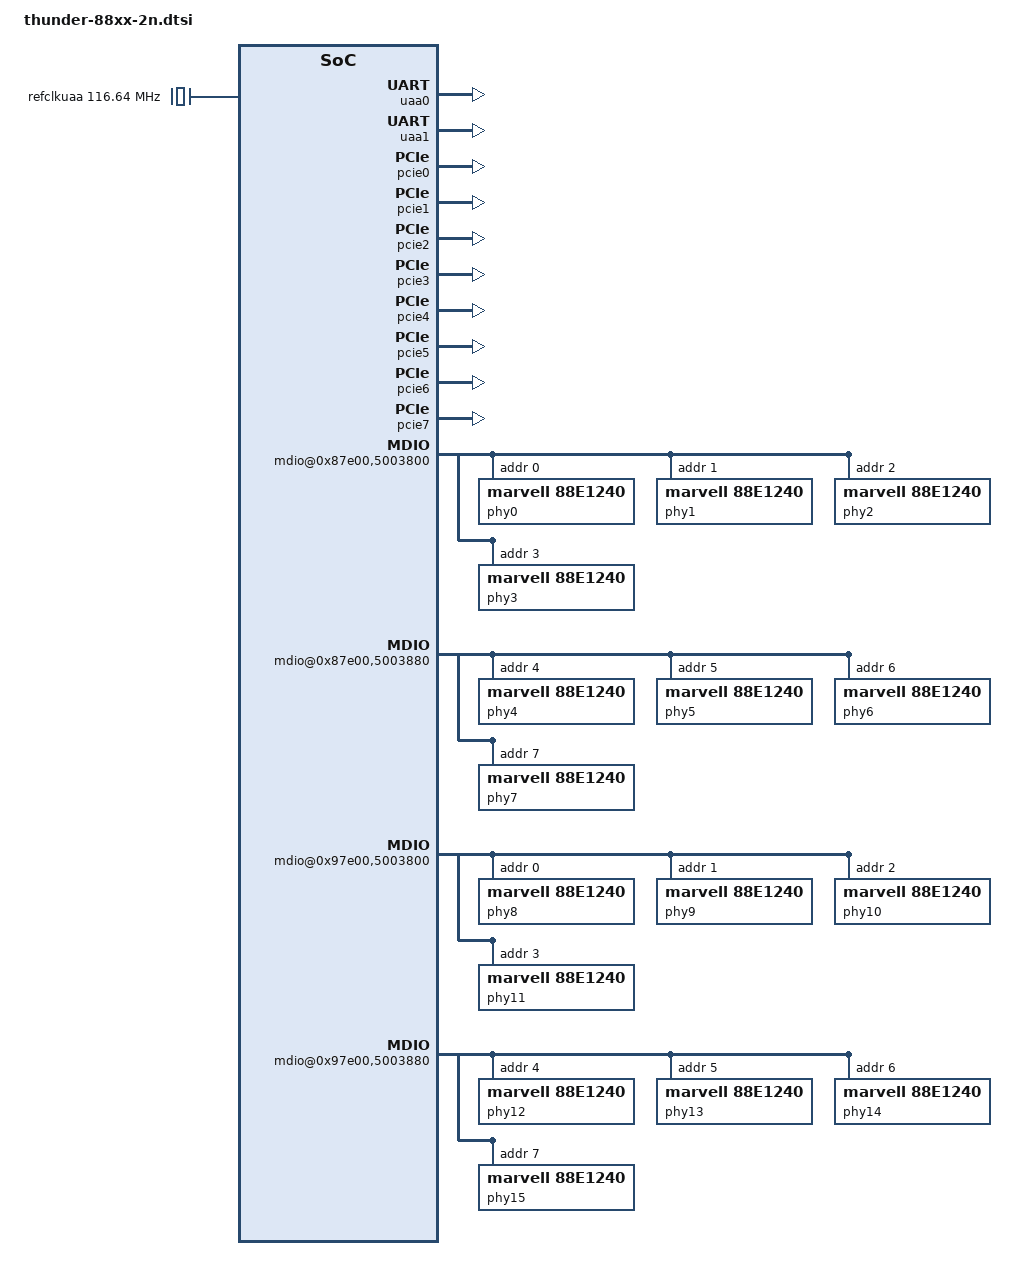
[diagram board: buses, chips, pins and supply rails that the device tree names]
/*
 * Cavium Thunder DTS file - Thunder SoC description
 *
 * Copyright (C) 2014, Cavium Inc.
 *
 * This file is dual-licensed: you can use it either under the terms
 * of the GPL or the X11 license, at your option. Note that this dual
 * licensing only applies to this file, and not this project as a
 * whole.
 *
 *  a) This library is free software; you can redistribute it and/or
 *     modify it under the terms of the GNU General Public License as
 *     published by the Free Software Foundation; either version 2 of the
 *     License, or (at your option) any later version.
 *
 *     This library is distributed in the hope that it will be useful,
 *     but WITHOUT ANY WARRANTY; without even the implied warranty of
 *     MERCHANTABILITY or FITNESS FOR A PARTICULAR PURPOSE.  See the
 *     GNU General Public License for more details.
 *
 *     You should have received a copy of the GNU General Public
 *     License along with this library; if not, write to the Free
 *     Software Foundation, Inc., 51 Franklin St, Fifth Floor, Boston,
 *     MA 02110-1301 USA
 *
 * Or, alternatively,
 *
 *  b) Permission is hereby granted, free of charge, to any person
 *     obtaining a copy of this software and associated documentation
 *     files (the "Software"), to deal in the Software without
 *     restriction, including without limitation the rights to use,
 *     copy, modify, merge, publish, distribute, sublicense, and/or
 *     sell copies of the Software, and to permit persons to whom the
 *     Software is furnished to do so, subject to the following
 *     conditions:
 *
 *     The above copyright notice and this permission notice shall be
 *     included in all copies or substantial portions of the Software.
 *
 *     THE SOFTWARE IS PROVIDED "AS IS", WITHOUT WARRANTY OF ANY KIND,
 *     EXPRESS OR IMPLIED, INCLUDING BUT NOT LIMITED TO THE WARRANTIES
 *     OF MERCHANTABILITY, FITNESS FOR A PARTICULAR PURPOSE AND
 *     NONINFRINGEMENT. IN NO EVENT SHALL THE AUTHORS OR COPYRIGHT
 *     HOLDERS BE LIABLE FOR ANY CLAIM, DAMAGES OR OTHER LIABILITY,
 *     WHETHER IN AN ACTION OF CONTRACT, TORT OR OTHERWISE, ARISING
 *     FROM, OUT OF OR IN CONNECTION WITH THE SOFTWARE OR THE USE OR
 *     OTHER DEALINGS IN THE SOFTWARE.
 */

/ {
	compatible = "cavium,thunder-88xx";
	interrupt-parent = <&gic0>;
	#address-cells = <2>;
	#size-cells = <2>;

	psci {
		compatible = "arm,psci-0.2";
		method = "smc";
	};

	cpus {
		#address-cells = <2>;
		#size-cells = <0>;

		cpu@000 {
			device_type = "cpu";
			compatible = "cavium,thunder", "arm,armv8";
			reg = <0x0 0x000>;
			enable-method = "psci";
			/* socket 0, cluster 0, core 0*/
			arm,associativity = <0 0 0>;
		};
		cpu@001 {
			device_type = "cpu";
			compatible = "cavium,thunder", "arm,armv8";
			reg = <0x0 0x001>;
			enable-method = "psci";
			arm,associativity = <0 0 1>;
		};
		cpu@002 {
			device_type = "cpu";
			compatible = "cavium,thunder", "arm,armv8";
			reg = <0x0 0x002>;
			enable-method = "psci";
			arm,associativity = <0 0 2>;
		};
		cpu@003 {
			device_type = "cpu";
			compatible = "cavium,thunder", "arm,armv8";
			reg = <0x0 0x003>;
			enable-method = "psci";
			arm,associativity = <0 0 3>;
		};
		cpu@004 {
			device_type = "cpu";
			compatible = "cavium,thunder", "arm,armv8";
			reg = <0x0 0x004>;
			enable-method = "psci";
			arm,associativity = <0 0 4>;
		};
		cpu@005 {
			device_type = "cpu";
			compatible = "cavium,thunder", "arm,armv8";
			reg = <0x0 0x005>;
			enable-method = "psci";
			arm,associativity = <0 0 5>;
		};
		cpu@006 {
			device_type = "cpu";
			compatible = "cavium,thunder", "arm,armv8";
			reg = <0x0 0x006>;
			enable-method = "psci";
			arm,associativity = <0 0 6>;
		};
		cpu@007 {
			device_type = "cpu";
			compatible = "cavium,thunder", "arm,armv8";
			reg = <0x0 0x007>;
			enable-method = "psci";
			arm,associativity = <0 0 7>;
		};
		cpu@008 {
			device_type = "cpu";
			compatible = "cavium,thunder", "arm,armv8";
			reg = <0x0 0x008>;
			enable-method = "psci";
			arm,associativity = <0 0 8>;
		};
		cpu@009 {
			device_type = "cpu";
			compatible = "cavium,thunder", "arm,armv8";
			reg = <0x0 0x009>;
			enable-method = "psci";
			arm,associativity = <0 0 9>;
		};
		cpu@00a {
			device_type = "cpu";
			compatible = "cavium,thunder", "arm,armv8";
			reg = <0x0 0x00a>;
			enable-method = "psci";
			arm,associativity = <0 0 10>;
		};
		cpu@00b {
			device_type = "cpu";
			compatible = "cavium,thunder", "arm,armv8";
			reg = <0x0 0x00b>;
			enable-method = "psci";
			arm,associativity = <0 0 11>;
		};
		cpu@00c {
			device_type = "cpu";
			compatible = "cavium,thunder", "arm,armv8";
			reg = <0x0 0x00c>;
			enable-method = "psci";
			arm,associativity = <0 0 12>;
		};
		cpu@00d {
			device_type = "cpu";
			compatible = "cavium,thunder", "arm,armv8";
			reg = <0x0 0x00d>;
			enable-method = "psci";
			arm,associativity = <0 0 13>;
		};
		cpu@00e {
			device_type = "cpu";
			compatible = "cavium,thunder", "arm,armv8";
			reg = <0x0 0x00e>;
			enable-method = "psci";
			arm,associativity = <0 0 14>;
		};
		cpu@00f {
			device_type = "cpu";
			compatible = "cavium,thunder", "arm,armv8";
			reg = <0x0 0x00f>;
			enable-method = "psci";
			arm,associativity = <0 0 15>;
		};
		cpu@100 {
			device_type = "cpu";
			compatible = "cavium,thunder", "arm,armv8";
			reg = <0x0 0x100>;
			enable-method = "psci";
			arm,associativity = <0 1 0>;
		};
		cpu@101 {
			device_type = "cpu";
			compatible = "cavium,thunder", "arm,armv8";
			reg = <0x0 0x101>;
			enable-method = "psci";
			arm,associativity = <0 1 1>;
		};
		cpu@102 {
			device_type = "cpu";
			compatible = "cavium,thunder", "arm,armv8";
			reg = <0x0 0x102>;
			enable-method = "psci";
			arm,associativity = <0 1 2>;
		};
		cpu@103 {
			device_type = "cpu";
			compatible = "cavium,thunder", "arm,armv8";
			reg = <0x0 0x103>;
			enable-method = "psci";
			arm,associativity = <0 1 3>;
		};
		cpu@104 {
			device_type = "cpu";
			compatible = "cavium,thunder", "arm,armv8";
			reg = <0x0 0x104>;
			enable-method = "psci";
			arm,associativity = <0 1 4>;
		};
		cpu@105 {
			device_type = "cpu";
			compatible = "cavium,thunder", "arm,armv8";
			reg = <0x0 0x105>;
			enable-method = "psci";
			arm,associativity = <0 1 5>;
		};
		cpu@106 {
			device_type = "cpu";
			compatible = "cavium,thunder", "arm,armv8";
			reg = <0x0 0x106>;
			enable-method = "psci";
			arm,associativity = <0 1 6>;
		};
		cpu@107 {
			device_type = "cpu";
			compatible = "cavium,thunder", "arm,armv8";
			reg = <0x0 0x107>;
			enable-method = "psci";
			arm,associativity = <0 1 7>;
		};
		cpu@108 {
			device_type = "cpu";
			compatible = "cavium,thunder", "arm,armv8";
			reg = <0x0 0x108>;
			enable-method = "psci";
			arm,associativity = <0 1 8>;
		};
		cpu@109 {
			device_type = "cpu";
			compatible = "cavium,thunder", "arm,armv8";
			reg = <0x0 0x109>;
			enable-method = "psci";
			arm,associativity = <0 1 9>;
		};
		cpu@10a {
			device_type = "cpu";
			compatible = "cavium,thunder", "arm,armv8";
			reg = <0x0 0x10a>;
			enable-method = "psci";
			arm,associativity = <0 1 10>;
		};
		cpu@10b {
			device_type = "cpu";
			compatible = "cavium,thunder", "arm,armv8";
			reg = <0x0 0x10b>;
			enable-method = "psci";
			arm,associativity = <0 1 11>;
		};
		cpu@10c {
			device_type = "cpu";
			compatible = "cavium,thunder", "arm,armv8";
			reg = <0x0 0x10c>;
			enable-method = "psci";
			arm,associativity = <0 1 12>;
		};
		cpu@10d {
			device_type = "cpu";
			compatible = "cavium,thunder", "arm,armv8";
			reg = <0x0 0x10d>;
			enable-method = "psci";
			arm,associativity = <0 1 13>;
		};
		cpu@10e {
			device_type = "cpu";
			compatible = "cavium,thunder", "arm,armv8";
			reg = <0x0 0x10e>;
			enable-method = "psci";
			arm,associativity = <0 1 14>;
		};
		cpu@10f {
			device_type = "cpu";
			compatible = "cavium,thunder", "arm,armv8";
			reg = <0x0 0x10f>;
			enable-method = "psci";
			arm,associativity = <0 1 15>;
		};
		cpu@200 {
			device_type = "cpu";
			compatible = "cavium,thunder", "arm,armv8";
			reg = <0x0 0x200>;
			enable-method = "psci";
			arm,associativity = <0 2 0>;
		};
		cpu@201 {
			device_type = "cpu";
			compatible = "cavium,thunder", "arm,armv8";
			reg = <0x0 0x201>;
			enable-method = "psci";
			arm,associativity = <0 2 1>;
		};
		cpu@202 {
			device_type = "cpu";
			compatible = "cavium,thunder", "arm,armv8";
			reg = <0x0 0x202>;
			enable-method = "psci";
			arm,associativity = <0 2 2>;
		};
		cpu@203 {
			device_type = "cpu";
			compatible = "cavium,thunder", "arm,armv8";
			reg = <0x0 0x203>;
			enable-method = "psci";
			arm,associativity = <0 2 3>;
		};
		cpu@204 {
			device_type = "cpu";
			compatible = "cavium,thunder", "arm,armv8";
			reg = <0x0 0x204>;
			enable-method = "psci";
			arm,associativity = <0 2 4>;
		};
		cpu@205 {
			device_type = "cpu";
			compatible = "cavium,thunder", "arm,armv8";
			reg = <0x0 0x205>;
			enable-method = "psci";
			arm,associativity = <0 2 5>;
		};
		cpu@206 {
			device_type = "cpu";
			compatible = "cavium,thunder", "arm,armv8";
			reg = <0x0 0x206>;
			enable-method = "psci";
			arm,associativity = <0 2 6>;
		};
		cpu@207 {
			device_type = "cpu";
			compatible = "cavium,thunder", "arm,armv8";
			reg = <0x0 0x207>;
			enable-method = "psci";
			arm,associativity = <0 2 7>;
		};
		cpu@208 {
			device_type = "cpu";
			compatible = "cavium,thunder", "arm,armv8";
			reg = <0x0 0x208>;
			enable-method = "psci";
			arm,associativity = <0 2 8>;
		};
		cpu@209 {
			device_type = "cpu";
			compatible = "cavium,thunder", "arm,armv8";
			reg = <0x0 0x209>;
			enable-method = "psci";
			arm,associativity = <0 2 9>;
		};
		cpu@20a {
			device_type = "cpu";
			compatible = "cavium,thunder", "arm,armv8";
			reg = <0x0 0x20a>;
			enable-method = "psci";
			arm,associativity = <0 2 10>;
		};
		cpu@20b {
			device_type = "cpu";
			compatible = "cavium,thunder", "arm,armv8";
			reg = <0x0 0x20b>;
			enable-method = "psci";
			arm,associativity = <0 2 11>;
		};
		cpu@20c {
			device_type = "cpu";
			compatible = "cavium,thunder", "arm,armv8";
			reg = <0x0 0x20c>;
			enable-method = "psci";
			arm,associativity = <0 2 12>;
		};
		cpu@20d {
			device_type = "cpu";
			compatible = "cavium,thunder", "arm,armv8";
			reg = <0x0 0x20d>;
			enable-method = "psci";
			arm,associativity = <0 2 13>;
		};
		cpu@20e {
			device_type = "cpu";
			compatible = "cavium,thunder", "arm,armv8";
			reg = <0x0 0x20e>;
			enable-method = "psci";
			arm,associativity = <0 2 14>;
		};
		cpu@20f {
			device_type = "cpu";
			compatible = "cavium,thunder", "arm,armv8";
			reg = <0x0 0x20f>;
			enable-method = "psci";
			arm,associativity = <0 2 15>;
		};
		cpu@10000 {
			device_type = "cpu";
			compatible = "cavium,thunder", "arm,armv8";
			reg = <0x0 0x10000>;
			enable-method = "psci";
			arm,associativity = <1 0 0>;
		};
		cpu@10001 {
			device_type = "cpu";
			compatible = "cavium,thunder", "arm,armv8";
			reg = <0x0 0x10001>;
			enable-method = "psci";
			arm,associativity = <1 0 1>;
		};
		cpu@10002 {
			device_type = "cpu";
			compatible = "cavium,thunder", "arm,armv8";
			reg = <0x0 0x10002>;
			enable-method = "psci";
			arm,associativity = <1 0 2>;
		};
		cpu@10003 {
			device_type = "cpu";
			compatible = "cavium,thunder", "arm,armv8";
			reg = <0x0 0x10003>;
			enable-method = "psci";
			arm,associativity = <1 0 3>;
		};
		cpu@10004 {
			device_type = "cpu";
			compatible = "cavium,thunder", "arm,armv8";
			reg = <0x0 0x10004>;
			enable-method = "psci";
			arm,associativity = <1 0 4>;
		};
		cpu@10005 {
			device_type = "cpu";
			compatible = "cavium,thunder", "arm,armv8";
			reg = <0x0 0x10005>;
			enable-method = "psci";
			arm,associativity = <1 0 5>;
		};
		cpu@10006 {
			device_type = "cpu";
			compatible = "cavium,thunder", "arm,armv8";
			reg = <0x0 0x10006>;
			enable-method = "psci";
			arm,associativity = <1 0 6>;
		};
		cpu@10007 {
			device_type = "cpu";
			compatible = "cavium,thunder", "arm,armv8";
			reg = <0x0 0x10007>;
			enable-method = "psci";
			arm,associativity = <1 0 7>;
		};
		cpu@10008 {
			device_type = "cpu";
			compatible = "cavium,thunder", "arm,armv8";
			reg = <0x0 0x10008>;
			enable-method = "psci";
			arm,associativity = <1 0 8>;
		};
		cpu@10009 {
			device_type = "cpu";
			compatible = "cavium,thunder", "arm,armv8";
			reg = <0x0 0x10009>;
			enable-method = "psci";
			arm,associativity = <1 0 9>;
		};
		cpu@1000a {
			device_type = "cpu";
			compatible = "cavium,thunder", "arm,armv8";
			reg = <0x0 0x1000a>;
			enable-method = "psci";
			arm,associativity = <1 0 10>;
		};
		cpu@1000b {
			device_type = "cpu";
			compatible = "cavium,thunder", "arm,armv8";
			reg = <0x0 0x1000b>;
			enable-method = "psci";
			arm,associativity = <1 0 11>;
		};
		cpu@1000c {
			device_type = "cpu";
			compatible = "cavium,thunder", "arm,armv8";
			reg = <0x0 0x1000c>;
			enable-method = "psci";
			arm,associativity = <1 0 12>;
		};
		cpu@1000d {
			device_type = "cpu";
			compatible = "cavium,thunder", "arm,armv8";
			reg = <0x0 0x1000d>;
			enable-method = "psci";
			arm,associativity = <1 0 13>;
		};
		cpu@1000e {
			device_type = "cpu";
			compatible = "cavium,thunder", "arm,armv8";
			reg = <0x0 0x1000e>;
			enable-method = "psci";
			arm,associativity = <1 0 14>;
		};
		cpu@1000f {
			device_type = "cpu";
			compatible = "cavium,thunder", "arm,armv8";
			reg = <0x0 0x1000f>;
			enable-method = "psci";
			arm,associativity = <1 0 15>;
		};
		cpu@10100 {
			device_type = "cpu";
			compatible = "cavium,thunder", "arm,armv8";
			reg = <0x0 0x10100>;
			enable-method = "psci";
			arm,associativity = <1 1 0>;
		};
		cpu@10101 {
			device_type = "cpu";
			compatible = "cavium,thunder", "arm,armv8";
			reg = <0x0 0x10101>;
			enable-method = "psci";
			arm,associativity = <1 1 1>;
		};
		cpu@10102 {
			device_type = "cpu";
			compatible = "cavium,thunder", "arm,armv8";
			reg = <0x0 0x10102>;
			enable-method = "psci";
			arm,associativity = <1 1 2>;
		};
		cpu@10103 {
			device_type = "cpu";
			compatible = "cavium,thunder", "arm,armv8";
			reg = <0x0 0x10103>;
			enable-method = "psci";
			arm,associativity = <1 1 3>;
		};
		cpu@10104 {
			device_type = "cpu";
			compatible = "cavium,thunder", "arm,armv8";
			reg = <0x0 0x10104>;
			enable-method = "psci";
			arm,associativity = <1 1 4>;
		};
		cpu@10105 {
			device_type = "cpu";
			compatible = "cavium,thunder", "arm,armv8";
			reg = <0x0 0x10105>;
			enable-method = "psci";
			arm,associativity = <1 1 5>;
		};
		cpu@10106 {
			device_type = "cpu";
			compatible = "cavium,thunder", "arm,armv8";
			reg = <0x0 0x10106>;
			enable-method = "psci";
			arm,associativity = <1 1 6>;
		};
		cpu@10107 {
			device_type = "cpu";
			compatible = "cavium,thunder", "arm,armv8";
			reg = <0x0 0x10107>;
			enable-method = "psci";
			arm,associativity = <1 1 7>;
		};
		cpu@10108 {
			device_type = "cpu";
			compatible = "cavium,thunder", "arm,armv8";
			reg = <0x0 0x10108>;
			enable-method = "psci";
			arm,associativity = <1 1 8>;
		};
		cpu@10109 {
			device_type = "cpu";
			compatible = "cavium,thunder", "arm,armv8";
			reg = <0x0 0x10109>;
			enable-method = "psci";
			arm,associativity = <1 1 9>;
		};
		cpu@1010a {
			device_type = "cpu";
			compatible = "cavium,thunder", "arm,armv8";
			reg = <0x0 0x1010a>;
			enable-method = "psci";
			arm,associativity = <1 1 10>;
		};
		cpu@1010b {
			device_type = "cpu";
			compatible = "cavium,thunder", "arm,armv8";
			reg = <0x0 0x1010b>;
			enable-method = "psci";
			arm,associativity = <1 1 11>;
		};
		cpu@1010c {
			device_type = "cpu";
			compatible = "cavium,thunder", "arm,armv8";
			reg = <0x0 0x1010c>;
			enable-method = "psci";
			arm,associativity = <1 1 12>;
		};
		cpu@1010d {
			device_type = "cpu";
			compatible = "cavium,thunder", "arm,armv8";
			reg = <0x0 0x1010d>;
			enable-method = "psci";
			arm,associativity = <1 1 13>;
		};
		cpu@1010e {
			device_type = "cpu";
			compatible = "cavium,thunder", "arm,armv8";
			reg = <0x0 0x1010e>;
			enable-method = "psci";
			arm,associativity = <1 1 14>;
		};
		cpu@1010f {
			device_type = "cpu";
			compatible = "cavium,thunder", "arm,armv8";
			reg = <0x0 0x1010f>;
			enable-method = "psci";
			arm,associativity = <1 1 15>;
		};
		cpu@10200 {
			device_type = "cpu";
			compatible = "cavium,thunder", "arm,armv8";
			reg = <0x0 0x10200>;
			enable-method = "psci";
			arm,associativity = <1 2 0>;
		};
		cpu@10201 {
			device_type = "cpu";
			compatible = "cavium,thunder", "arm,armv8";
			reg = <0x0 0x10201>;
			enable-method = "psci";
			arm,associativity = <1 2 1>;
		};
		cpu@10202 {
			device_type = "cpu";
			compatible = "cavium,thunder", "arm,armv8";
			reg = <0x0 0x10202>;
			enable-method = "psci";
			arm,associativity = <1 2 2>;
		};
		cpu@10203 {
			device_type = "cpu";
			compatible = "cavium,thunder", "arm,armv8";
			reg = <0x0 0x10203>;
			enable-method = "psci";
			arm,associativity = <1 2 3>;
		};
		cpu@10204 {
			device_type = "cpu";
			compatible = "cavium,thunder", "arm,armv8";
			reg = <0x0 0x10204>;
			enable-method = "psci";
			arm,associativity = <1 2 4>;
		};
		cpu@10205 {
			device_type = "cpu";
			compatible = "cavium,thunder", "arm,armv8";
			reg = <0x0 0x10205>;
			enable-method = "psci";
			arm,associativity = <1 2 5>;
		};
		cpu@10206 {
			device_type = "cpu";
			compatible = "cavium,thunder", "arm,armv8";
			reg = <0x0 0x10206>;
			enable-method = "psci";
			arm,associativity = <1 2 6>;
		};
		cpu@10207 {
			device_type = "cpu";
			compatible = "cavium,thunder", "arm,armv8";
			reg = <0x0 0x10207>;
			enable-method = "psci";
			arm,associativity = <1 2 7>;
		};
		cpu@10208 {
			device_type = "cpu";
			compatible = "cavium,thunder", "arm,armv8";
			reg = <0x0 0x10208>;
			enable-method = "psci";
			arm,associativity = <1 2 8>;
		};
		cpu@10209 {
			device_type = "cpu";
			compatible = "cavium,thunder", "arm,armv8";
			reg = <0x0 0x10209>;
			enable-method = "psci";
			arm,associativity = <1 2 9>;
		};
		cpu@1020a {
			device_type = "cpu";
			compatible = "cavium,thunder", "arm,armv8";
			reg = <0x0 0x1020a>;
			enable-method = "psci";
			arm,associativity = <1 2 10>;
		};
		cpu@1020b {
			device_type = "cpu";
			compatible = "cavium,thunder", "arm,armv8";
			reg = <0x0 0x1020b>;
			enable-method = "psci";
			arm,associativity = <1 2 11>;
		};
		cpu@1020c {
			device_type = "cpu";
			compatible = "cavium,thunder", "arm,armv8";
			reg = <0x0 0x1020c>;
			enable-method = "psci";
			arm,associativity = <1 2 12>;
		};
		cpu@1020d {
			device_type = "cpu";
			compatible = "cavium,thunder", "arm,armv8";
			reg = <0x0 0x1020d>;
			enable-method = "psci";
			arm,associativity = <1 2 13>;
		};
		cpu@1020e {
			device_type = "cpu";
			compatible = "cavium,thunder", "arm,armv8";
			reg = <0x0 0x1020e>;
			enable-method = "psci";
			arm,associativity = <1 2 14>;
		};
		cpu@1020f {
			device_type = "cpu";
			compatible = "cavium,thunder", "arm,armv8";
			reg = <0x0 0x1020f>;
			enable-method = "psci";
			arm,associativity = <1 2 15>;
		};
	};

	timer {
		compatible = "arm,armv8-timer";
		interrupts = <1 13 0xff01>,
			     <1 14 0xff01>,
			     <1 11 0xff01>,
			     <1 10 0xff01>;
	};

	pmu {
		compatible = "arm,armv8-pmuv3";
		interrupts = <1 7 4>;
	};

	soc {
		compatible = "simple-bus";
		#address-cells = <2>;
		#size-cells = <2>;
		ranges;

		refclkuaa: refclkuaa {
			compatible = "fixed-clock";
			#clock-cells = <0>;
			clock-frequency = <116640000>;
			clock-output-names = "refclkuaa";
		};

		gic0: interrupt-controller@8010,00000000 {
			compatible = "arm,gic-v3";
			#interrupt-cells = <3>;
			#address-cells = <2>;
			#size-cells = <2>;
			#redistributor-regions = <2>;
			ranges;
			interrupt-controller;
			reg = <0x8010 0x00000000 0x0 0x010000>, /* GICD */
			      <0x8010 0x80000000 0x0 0x600000>, /* GICR Node 0 */
			      <0x9010 0x80000000 0x0 0x600000>; /* GICR Node 1 */
			interrupts = <1 9 0xf04>;

			its: gic-its@8010,00020000 {
				compatible = "arm,gic-v3-its";
				msi-controller;
				reg = <0x8010 0x20000 0x0 0x200000>;
				arm,associativity = <0 0 0>;
			};

			its1: gic-its@9010,00020000 {
				compatible = "arm,gic-v3-its";
				msi-controller;
				reg = <0x9010 0x20000 0x0 0x200000>;
				arm,associativity = <1 0 0>;
			};
		};

		uaa0: serial@87e0,24000000 {
			compatible = "arm,pl011", "arm,primecell";
			reg = <0x87e0 0x24000000 0x0 0x1000>;
			interrupts = <0 5 4>;
			clocks = <&refclkuaa>;
			clock-names = "apb_pclk";
		};

		uaa1: serial@87e0,25000000 {
			compatible = "arm,pl011", "arm,primecell";
			reg = <0x87e0 0x25000000 0x0 0x1000>;
			interrupts = <0 6 4>;
			clocks = <&refclkuaa>;
			clock-names = "apb_pclk";
		};
	};

	pcie0: pcie0@0x8480,00000000 {
		compatible = "cavium,thunder-pcie";
		device_type = "pci";
		msi-parent = <&its>;
		bus-range = <0 255>;
		#size-cells = <2>;
		#address-cells = <3>;
		#stream-id-cells = <1>;
		reg = <0x8480 0x00000000 0 0x10000000>;  /* Configuration space */
		ranges = <0x03000000 0x8010 0x00000000 0x8010 0x00000000 0x70 0x00000000>, /* mem ranges */
			 <0x03000000 0x8300 0x00000000 0x8300 0x00000000 0x500 0x00000000>;
	};

	pcie1: pcie1@0x8490,00000000 {
		compatible = "cavium,thunder-pcie";
		device_type = "pci";
		msi-parent = <&its>;
		bus-range = <0 255>;
		#size-cells = <2>;
		#address-cells = <3>;
		#stream-id-cells = <1>;
		reg = <0x8490 0x00000000 0 0x10000000>;  /* Configuration space */
		ranges = <0x03000000 0x8310 0x00000000 0x8310 0x00000000 0x00 0x10000000>, /* mem ranges */
			 <0x03000000 0x8100 0x00000000 0x8100 0x00000000 0x80 0x00000000>;
	};

	pcie2: pcie2@0x84a0,00000000 {
		compatible = "cavium,thunder-pcie";
		device_type = "pci";
		msi-parent = <&its>;
		bus-range = <0 255>;
		#size-cells = <2>;
		#address-cells = <3>;
		#stream-id-cells = <1>;
		reg = <0x84a0 0x00000000 0 0x10000000>;  /* Configuration space */
		ranges = <0x03000000 0x8320 0x00000000 0x8320 0x00000000 0x00 0x10000000>, /* mem ranges */
			 <0x03000000 0x8430 0x00000000 0x8430 0x00000000 0x01 0x00000000>;
	};

	pcie3: pcie3@0x84b0,00000000 {
		compatible = "cavium,thunder-pcie";
		device_type = "pci";
		msi-parent = <&its>;
		bus-range = <0 255>;
		#size-cells = <2>;
		#address-cells = <3>;
		#stream-id-cells = <1>;
		reg = <0x84b0 0x00000000 0 0x10000000>;  /* Configuration space */
		ranges = <0x03000000 0x8330 0x00000000 0x8330 0x00000000 0x00 0x10000000>, /* mem ranges */
			 <0x03000000 0x8180 0x00000000 0x8180 0x00000000 0x80 0x00000000>;
	};

	pcie4: pcie4@0x9480,00000000 {
		compatible = "cavium,thunder-pcie";
		device_type = "pci";
		msi-parent = <&its1>;
		bus-range = <0 255>;
		#size-cells = <2>;
		#address-cells = <3>;
		#stream-id-cells = <1>;
		reg = <0x9480 0x00000000 0 0x10000000>;  /* Configuration space */
		ranges = <0x03000000 0x9010 0x00000000 0x9010 0x00000000 0x70 0x00000000>, /* mem ranges */
			 <0x03000000 0x9300 0x00000000 0x9300 0x00000000 0x500 0x00000000>;
	};

	pcie5: pcie5@0x9490,00000000 {
		compatible = "cavium,thunder-pcie";
		device_type = "pci";
		msi-parent = <&its1>;
		bus-range = <0 255>;
		#size-cells = <2>;
		#address-cells = <3>;
		#stream-id-cells = <1>;
		reg = <0x9490 0x00000000 0 0x10000000>;  /* Configuration space */
		ranges = <0x03000000 0x9310 0x00000000 0x9310 0x00000000 0x00 0x10000000>, /* mem ranges */
			 <0x03000000 0x9100 0x00000000 0x9100 0x00000000 0x80 0x00000000>;
	};

	pcie6: pcie6@0x84a0,00000000 {
		compatible = "cavium,thunder-pcie";
		device_type = "pci";
		msi-parent = <&its1>;
		bus-range = <0 255>;
		#size-cells = <2>;
		#address-cells = <3>;
		#stream-id-cells = <1>;
		reg = <0x94a0 0x00000000 0 0x10000000>;  /* Configuration space */
		ranges = <0x03000000 0x9320 0x00000000 0x9320 0x00000000 0x00 0x10000000>, /* mem ranges */
			 <0x03000000 0x9430 0x00000000 0x9430 0x00000000 0x01 0x00000000>;
	};

	pcie7: pcie7@0x84b0,00000000 {
		compatible = "cavium,thunder-pcie";
		device_type = "pci";
		msi-parent = <&its1>;
		bus-range = <0 255>;
		#size-cells = <2>;
		#address-cells = <3>;
		#stream-id-cells = <1>;
		reg = <0x94b0 0x00000000 0 0x10000000>;  /* Configuration space */
		ranges = <0x03000000 0x9330 0x00000000 0x9330 0x00000000 0x00 0x10000000>, /* mem ranges */
			 <0x03000000 0x9180 0x00000000 0x9180 0x00000000 0x80 0x00000000>;
	};

	mdio@0x87e00,5003800 {
		compatible = "cavium,octeon-3860-mdio";
		#address-cells = <1>;
		#size-cells = <0>;
		reg = <0x87e0 0x05003800 0x0 0x30>;

		phy0: sgmii0 {
			reg = <0> ;
			compatible = "marvell,88e1240", "ethernet-phy-ieee802.3-c22";
			/* LED[2,1]: Speed, LED[3]: RX, LED[0]: TX, all open-drain */
			marvell,reg-init = <3 0x10 0 0x8665>,
					<3 0x11 0 0x00aa>,
					<3 0x12 0 0x4105>,
					<3 0x13 0 0x8a08>;
		};
		phy1: sgmii1 {
			reg = <1> ;
			compatible = "marvell,88e1240", "ethernet-phy-ieee802.3-c22";
			marvell,reg-init = <3 0x10 0 0x8665>,
					<3 0x11 0 0x00aa>,
					<3 0x12 0 0x4105>,
					<3 0x13 0 0x8a08>;
		};
		phy2: sgmii2 {
			reg = <2> ;
			compatible = "marvell,88e1240", "ethernet-phy-ieee802.3-c22";
			marvell,reg-init = <3 0x10 0 0x8665>,
					<3 0x11 0 0x00aa>,
					<3 0x12 0 0x4105>,
					<3 0x13 0 0x8a08>;
		};
		phy3: sgmii3 {
			reg = <3> ;
			compatible = "marvell,88e1240", "ethernet-phy-ieee802.3-c22";
			marvell,reg-init = <3 0x10 0 0x8665>,
					<3 0x11 0 0x00aa>,
					<3 0x12 0 0x4105>,
					<3 0x13 0 0x8a08>;
		};

		/* For XAUI */
		/* phy100: xaui0 {
			reg = <0> ;
			compatible = "broadcom,bcm8706", "ethernet-phy-ieee802.3-c45";
			broadcom,c45-reg-init = <1 0xc808 0xff8f 0x70>;
		}; */
	};

	mdio@0x87e00,5003880 {
		compatible = "cavium,octeon-3860-mdio";
		#address-cells = <1>;
		#size-cells = <0>;
		reg = <0x87e0 0x05003880 0x0 0x30>;

		phy4: sgmii4 {
			reg = <4> ;
			compatible = "marvell,88e1240", "ethernet-phy-ieee802.3-c22";
			marvell,reg-init = <3 0x10 0 0x8665>,
					<3 0x11 0 0x00aa>,
					<3 0x12 0 0x4105>,
					<3 0x13 0 0x8a08>;
		};
		phy5: sgmii5 {
			reg = <5> ;
			compatible = "marvell,88e1240", "ethernet-phy-ieee802.3-c22";
			marvell,reg-init = <3 0x10 0 0x8665>,
					<3 0x11 0 0x00aa>,
					<3 0x12 0 0x4105>,
					<3 0x13 0 0x8a08>;
		};
		phy6: sgmii6 {
			reg = <6> ;
			compatible = "marvell,88e1240", "ethernet-phy-ieee802.3-c22";
			marvell,reg-init = <3 0x10 0 0x8665>,
					<3 0x11 0 0x00aa>,
					<3 0x12 0 0x4105>,
					<3 0x13 0 0x8a08>;
		};
		phy7: sgmii7 {
			reg = <7> ;
			compatible = "marvell,88e1240", "ethernet-phy-ieee802.3-c22";
			marvell,reg-init = <3 0x10 0 0x8665>,
					<3 0x11 0 0x00aa>,
					<3 0x12 0 0x4105>,
					<3 0x13 0 0x8a08>;
		};
		/* For XAUI */
		/* phy104: xaui1 {
			reg = <4> ;
			compatible = "broadcom,bcm8706", "ethernet-phy-ieee802.3-c45";
			broadcom,c45-reg-init = <1 0xc808 0xff8f 0x70>;
		}; */
	};

	mdio@0x97e00,5003800 {
		compatible = "cavium,octeon-3860-mdio";
		#address-cells = <1>;
		#size-cells = <0>;
		reg = <0x97e0 0x05003800 0x0 0x30>;

		phy8: sgmii8 {
			reg = <0> ;
			compatible = "marvell,88e1240", "ethernet-phy-ieee802.3-c22";
			/* LED[2,1]: Speed, LED[3]: RX, LED[0]: TX, all open-drain */
			marvell,reg-init = <3 0x10 0 0x8665>,
					<3 0x11 0 0x00aa>,
					<3 0x12 0 0x4105>,
					<3 0x13 0 0x8a08>;
		};
		phy9: sgmii9 {
			reg = <1> ;
			compatible = "marvell,88e1240", "ethernet-phy-ieee802.3-c22";
			marvell,reg-init = <3 0x10 0 0x8665>,
					<3 0x11 0 0x00aa>,
					<3 0x12 0 0x4105>,
					<3 0x13 0 0x8a08>;
		};
		phy10: sgmii10 {
			reg = <2> ;
			compatible = "marvell,88e1240", "ethernet-phy-ieee802.3-c22";
			marvell,reg-init = <3 0x10 0 0x8665>,
					<3 0x11 0 0x00aa>,
					<3 0x12 0 0x4105>,
					<3 0x13 0 0x8a08>;
		};
		phy11: sgmii11 {
			reg = <3> ;
			compatible = "marvell,88e1240", "ethernet-phy-ieee802.3-c22";
			marvell,reg-init = <3 0x10 0 0x8665>,
					<3 0x11 0 0x00aa>,
					<3 0x12 0 0x4105>,
					<3 0x13 0 0x8a08>;
		};
		/* For XAUI */
		/* phy108: xaui2 {
			reg = <0> ;
			compatible = "broadcom,bcm8706", "ethernet-phy-ieee802.3-c45";
			broadcom,c45-reg-init = <1 0xc808 0xff8f 0x70>;
		}; */
	};

	mdio@0x97e00,5003880 {
		compatible = "cavium,octeon-3860-mdio";
		#address-cells = <1>;
		#size-cells = <0>;
		reg = <0x97e0 0x05003880 0x0 0x30>;

		phy12: sgmii12 {
			reg = <4> ;
			compatible = "marvell,88e1240", "ethernet-phy-ieee802.3-c22";
			marvell,reg-init = <3 0x10 0 0x8665>,
					<3 0x11 0 0x00aa>,
					<3 0x12 0 0x4105>,
					<3 0x13 0 0x8a08>;
		};
		phy13: sgmii3 {
			reg = <5> ;
			compatible = "marvell,88e1240", "ethernet-phy-ieee802.3-c22";
			marvell,reg-init = <3 0x10 0 0x8665>,
					<3 0x11 0 0x00aa>,
					<3 0x12 0 0x4105>,
					<3 0x13 0 0x8a08>;
		};
		phy14: sgmii14 {
			reg = <6> ;
			compatible = "marvell,88e1240", "ethernet-phy-ieee802.3-c22";
			marvell,reg-init = <3 0x10 0 0x8665>,
					<3 0x11 0 0x00aa>,
					<3 0x12 0 0x4105>,
					<3 0x13 0 0x8a08>;
		};
		phy15: sgmii15 {
			reg = <7> ;
			compatible = "marvell,88e1240", "ethernet-phy-ieee802.3-c22";
			marvell,reg-init = <3 0x10 0 0x8665>,
					<3 0x11 0 0x00aa>,
					<3 0x12 0 0x4105>,
					<3 0x13 0 0x8a08>;
		};
		/* For XAUI */
		/* phy112: xaui3 {
			reg = <4> ;
			compatible = "broadcom,bcm8706", "ethernet-phy-ieee802.3-c45";
			broadcom,c45-reg-init = <1 0xc808 0xff8f 0x70>;
		}; */
	};

	/**BGX0**/
	bgx0 {
		#address-cells = <1>;
		#size-cells = <0>;
		reg = <0x87e0 0xe0000000 0x0 0x1000000>;

		lmac0 {
			local-mac-address = [ 00 00 00 00 00 00 ];
			phy-handle = <&phy0>;
		};
		lmac1 {
			local-mac-address = [ 00 00 00 00 00 00 ];
			phy-handle = <&phy1>;
		};
		lmac2 {
			local-mac-address = [ 00 00 00 00 00 00 ];
			phy-handle = <&phy2>;
		};
		lmac3 {
			local-mac-address = [ 00 00 00 00 00 00 ];
			phy-handle = <&phy3>;
		};
		/* For XAUI */
		/*  lmac0 {
			local-mac-address = [ 00 00 00 00 00 00 ];
			phy-handle = <&phy100>;
		}; */
	};

	/**BGX1**/
	bgx1 {
		#address-cells = <1>;
		#size-cells = <0>;
		reg = <0x87e0 0xe1000000 0x0 0x1000000>;

		lmac0 {
			local-mac-address = [ 00 00 00 00 00 00 ];
			phy-handle = <&phy4>;
		};
		lmac1 {
			phy-handle = <&phy5>;
			local-mac-address = [ 00 00 00 00 00 00 ];
		};
		lmac2 {
			phy-handle = <&phy6>;
			local-mac-address = [ 00 00 00 00 00 00 ];
		};
		lmac3 {
			phy-handle = <&phy7>;
			local-mac-address = [ 00 00 00 00 00 00 ];
		};
		/* For XAUI */
		/*  lmac0 {
			local-mac-address = [ 00 00 00 00 00 00 ];
			phy-handle = <&phy104>;
		}; */
	};

	/**BGX2**/
	bgx2 {
		#address-cells = <1>;
		#size-cells = <0>;
		reg = <0x97e0 0xe0000000 0x0 0x1000000>;

		lmac0 {
			local-mac-address = [ 00 00 00 00 00 00 ];
			phy-handle = <&phy8>;
		};
		lmac1 {
			local-mac-address = [ 00 00 00 00 00 00 ];
			phy-handle = <&phy9>;
		};
		lmac2 {
			local-mac-address = [ 00 00 00 00 00 00 ];
			phy-handle = <&phy10>;
		};
		lmac3 {
			local-mac-address = [ 00 00 00 00 00 00 ];
			phy-handle = <&phy11>;
		};
		/* For XAUI */
		/*  lmac0 {
			local-mac-address = [ 00 00 00 00 00 00 ];
			phy-handle = <&phy108>;
		}; */
	};

	/**BGX3**/
	bgx3 {
		#address-cells = <1>;
		#size-cells = <0>;
		reg = <0x97e0 0xe1000000 0x0 0x1000000>;

		lmac0 {
			local-mac-address = [ 00 00 00 00 00 00 ];
			phy-handle = <&phy12>;
		};
		lmac1 {
			phy-handle = <&phy13>;
			local-mac-address = [ 00 00 00 00 00 00 ];
		};
		lmac2 {
			phy-handle = <&phy14>;
			local-mac-address = [ 00 00 00 00 00 00 ];
		};
		lmac3 {
			phy-handle = <&phy15>;
			local-mac-address = [ 00 00 00 00 00 00 ];
		};
		/* For XAUI */
		/*  lmac0 {
			local-mac-address = [ 00 00 00 00 00 00 ];
			phy-handle = <&phy112>;
		}; */
	};
};
